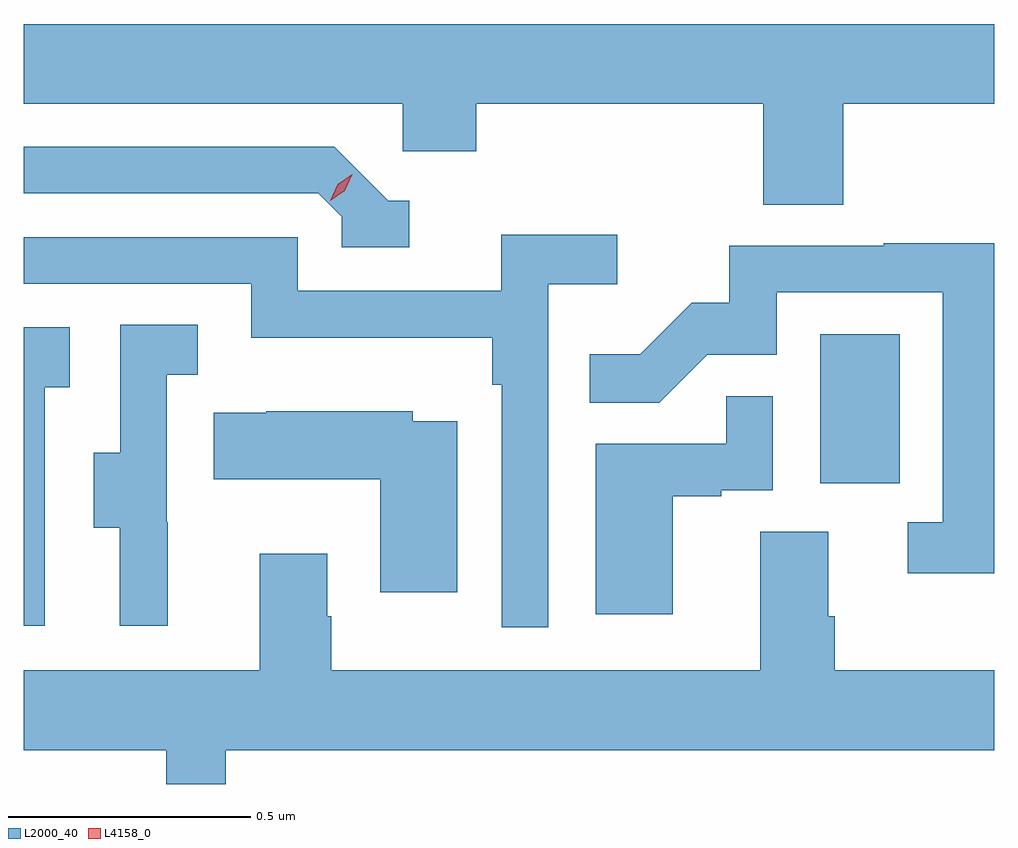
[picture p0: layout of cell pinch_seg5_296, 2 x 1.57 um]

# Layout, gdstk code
import gdstk
lib = gdstk.Library(unit=1e-6, precision=1e-09)
def R(c, l, rs):  # rectangles x0, y0, x1, y1
    for r in rs: c.add(gdstk.rectangle(r[:2], r[2:], *l))
def P(c, l, *ps):  # polygons
    for p in ps: c.add(gdstk.Polygon(p, *l))
L2000_40 = (2000, 40)
L4158_0 = (4158, 0)

pinch_seg5_296 = lib.new_cell('pinch_seg5_296')
R(pinch_seg5_296, L2000_40, [(917.498,878.622,917.662,878.929)])
P(pinch_seg5_296, L2000_40, [(917.546,879.404),(917.857,879.404),(917.857,879.568),(915.857,879.568),(915.857,879.404),(916.638,879.404),(916.638,879.306),(916.79,879.306),(916.79,879.404),(917.381,879.404),(917.381,879.196),(917.546,879.196)],
  [(916.651,879.204),(916.608,879.204),(916.497,879.315),(915.857,879.315),(915.857,879.219),(916.464,879.219),(916.512,879.171),(916.512,879.108),(916.651,879.108)],
  [(916.938,879.032),(917.08,879.032),(917.08,879.134),(916.841,879.134),(916.841,879.018),(916.422,879.018),(916.422,879.129),(915.857,879.129),(915.857,879.033),(916.326,879.033),(916.326,878.921),(916.822,878.921),(916.822,878.825),(916.842,878.825),(916.842,878.325),(916.938,878.325)],
  [(917.857,879.116),(917.629,879.116),(917.629,879.111),(917.311,879.111),(917.311,878.994),(917.234,878.994),(917.127,878.887),(917.023,878.887),(917.023,878.788),(917.167,878.788),(917.265,878.886),(917.409,878.886),(917.409,879.015),(917.751,879.015),(917.751,878.541),(917.679,878.541),(917.679,878.436),(917.857,878.436)],
  [(916.154,878.541),(916.152,878.541),(916.152,878.845),(916.216,878.845),(916.216,878.948),(916.056,878.948),(916.056,878.685),(916.001,878.685),(916.001,878.53),(916.055,878.53),(916.055,878.328),(916.154,878.328)],
  [(915.9,878.819),(915.952,878.819),(915.952,878.943),(915.857,878.943),(915.857,878.328),(915.9,878.328)],
  [(917.194,878.595),(917.294,878.595),(917.294,878.607),(917.4,878.607),(917.4,878.801),(917.305,878.801),(917.305,878.703),(917.036,878.703),(917.036,878.352),(917.194,878.352)],
  [(916.75,878.749),(916.659,878.749),(916.659,878.77),(916.357,878.77),(916.357,878.767),(916.249,878.767),(916.249,878.63),(916.592,878.63),(916.592,878.397),(916.75,878.397)],
  [(916.273,878.072),(917.857,878.072),(917.857,878.236),(917.528,878.236),(917.528,878.348),(917.515,878.348),(917.515,878.522),(917.375,878.522),(917.375,878.236),(916.491,878.236),(916.491,878.348),(916.483,878.348),(916.483,878.476),(916.343,878.476),(916.343,878.236),(915.857,878.236),(915.857,878.072),(916.151,878.072),(916.151,878.002),(916.273,878.002)])
P(pinch_seg5_296, L4158_0, [(916.489,879.204),(916.489,879.204),(916.504,879.238),(916.534,879.258),(916.534,879.258),(916.534,879.258),(916.519,879.224),(916.489,879.204)])

lib.write_gds('pinch_seg5_296.gds')
